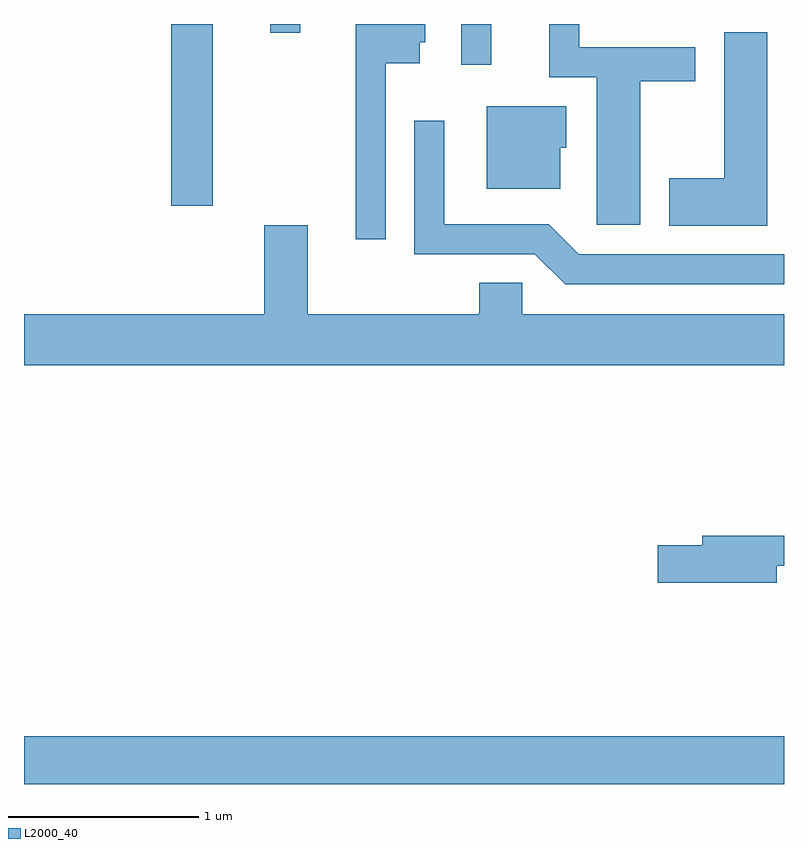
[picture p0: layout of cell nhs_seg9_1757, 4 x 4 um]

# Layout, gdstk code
import gdstk
lib = gdstk.Library(unit=1e-6, precision=1e-09)
def R(c, l, rs):  # rectangles x0, y0, x1, y1
    for r in rs: c.add(gdstk.rectangle(r[:2], r[2:], *l))
def P(c, l, *ps):  # polygons
    for p in ps: c.add(gdstk.Polygon(p, *l))
L2000_40 = (2000, 40)

nhs_seg9_1757 = lib.new_cell('nhs_seg9_1757')
R(nhs_seg9_1757, L2000_40, [(235.611,2058.432,239.611,2058.684), (236.386,2061.476,236.604,2062.432), (237.911,2062.218,238.069,2062.432), (236.906,2062.387,237.064,2062.432)])
P(nhs_seg9_1757, L2000_40, [(238.854,2062.131),(239.144,2062.131),(239.144,2062.309),(238.534,2062.309),(238.534,2062.432),(238.376,2062.432),(238.376,2062.151),(238.626,2062.151),(238.626,2061.376),(238.854,2061.376)],
  [(237.514,2062.226),(237.694,2062.226),(237.694,2062.336),(237.724,2062.336),(237.724,2062.432),(237.356,2062.432),(237.356,2061.298),(237.514,2061.298)],
  [(239.524,2062.389),(239.296,2062.389),(239.296,2061.619),(239.006,2061.619),(239.006,2061.371),(239.524,2061.371)],
  [(238.434,2061.781),(238.464,2061.781),(238.464,2061.999),(238.046,2061.999),(238.046,2061.566),(238.434,2061.566)],
  [(239.611,2061.219),(238.532,2061.219),(238.372,2061.379),(237.824,2061.379),(237.824,2061.923),(237.666,2061.923),(237.666,2061.221),(238.299,2061.221),(238.459,2061.061),(239.611,2061.061)],
  [(239.611,2060.904),(238.234,2060.904),(238.234,2061.069),(238.006,2061.069),(238.006,2060.904),(237.104,2060.904),(237.104,2061.374),(236.876,2061.374),(236.876,2060.904),(235.611,2060.904),(235.611,2060.636),(239.611,2060.636)],
  [(239.574,2059.581),(239.611,2059.581),(239.611,2059.739),(239.181,2059.739),(239.181,2059.689),(238.946,2059.689),(238.946,2059.491),(239.574,2059.491)])

lib.write_gds('nhs_seg9_1757.gds')
